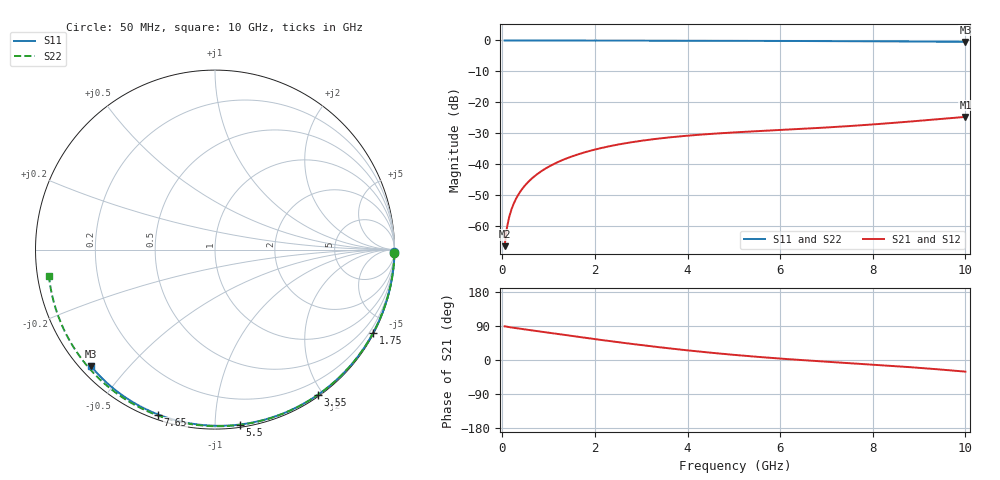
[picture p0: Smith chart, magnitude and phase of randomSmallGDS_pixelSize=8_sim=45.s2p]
! freq	dB(S11)	phase(S11)	dB(S12)	phase(S12)
!  dB(S21)	phase(S21)	dB(S22)	phase(S22)
!S-par simulation data
#  GHz  S  DB  R 50
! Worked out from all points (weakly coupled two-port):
!   200 points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, 50 MHz to 10 GHz, reference 50 ohm
!   highest |S21| = -24.72 dB at 10 GHz (marker M1); lowest = -66.5 dB at 50 MHz (marker M2)
!   lowest |S11| = -0.5 dB at 10 GHz (marker M3), VSWR 37.62, Z = 1.54 - j19.8 ohm
!   |S11| at or under -10 dB: nowhere
!   |S22| runs from -0.6 to 0.0 dB; largest |S21 - S12| = 0
!   S11 on the Smith chart (normalised r, x): 50 MHz: open; 1.75 GHz: 0.04, -4.06; 3.55 GHz: 0.02, -1.93; 5.5 GHz: 0.02, -1.15; 7.65 GHz: 0.02, -0.71; 10 GHz: 0.03, -0.40
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0.05  -0.00 -0.8  -66.52 88.9  -66.52 88.9  -0.00 -1.0
0.1  -0.00 -1.6  -60.52 87.8  -60.52 87.8  -0.00 -2.0
0.15  -0.00 -2.4  -57.03 86.7  -57.03 86.7  -0.00 -3.0
0.2  -0.00 -3.2  -54.56 85.8  -54.56 85.8  -0.00 -4.0
0.25  -0.00 -4.0  -52.65 84.9  -52.65 84.9  -0.00 -5.0
0.35  -0.00 -5.6  -49.77 83.1  -49.77 83.1  -0.01 -7.0
0.5  -0.01 -8.0  -46.72 80.5  -46.72 80.5  -0.01 -9.9
0.7  -0.01 -11.2  -43.85 77.1  -43.85 77.1  -0.02 -13.9
1  -0.02 -16.0  -40.84 72.0  -40.84 72.0  -0.02 -19.7
1.35  -0.03 -21.5  -38.37 66.0  -38.37 66.0  -0.03 -26.5
1.75  -0.04 -27.7  -36.30 59.2  -36.30 59.2  -0.04 -34.2
2.6  -0.05 -40.7  -33.39 45.5  -33.39 45.5  -0.07 -50.1
3.4  -0.07 -52.5  -31.69 33.6  -31.69 33.6  -0.09 -64.6
3.55  -0.08 -54.7  -31.44 31.5  -31.44 31.5  -0.09 -67.2
4.3  -0.10 -65.4  -30.43 21.7  -30.43 21.7  -0.12 -80.2
5.05  -0.12 -75.8  -29.70 13.0  -29.70 13.0  -0.15 -92.7
5.5  -0.14 -81.8  -29.33 8.4  -29.33 8.4  -0.17 -100.0
6.7  -0.19 -97.3  -28.40 -2.1  -28.40 -2.1  -0.24 -119.0
7.65  -0.25 -109.0  -27.53 -9.4  -27.53 -9.4  -0.31 -133.7
8.35  -0.30 -117.4  -26.77 -15.0  -26.77 -15.0  -0.37 -144.5
9.2  -0.38 -127.4  -25.73 -22.6  -25.73 -22.6  -0.46 -157.9
10  -0.46 -136.7  -24.72 -30.7  -24.72 -30.7  -0.57 -170.9
